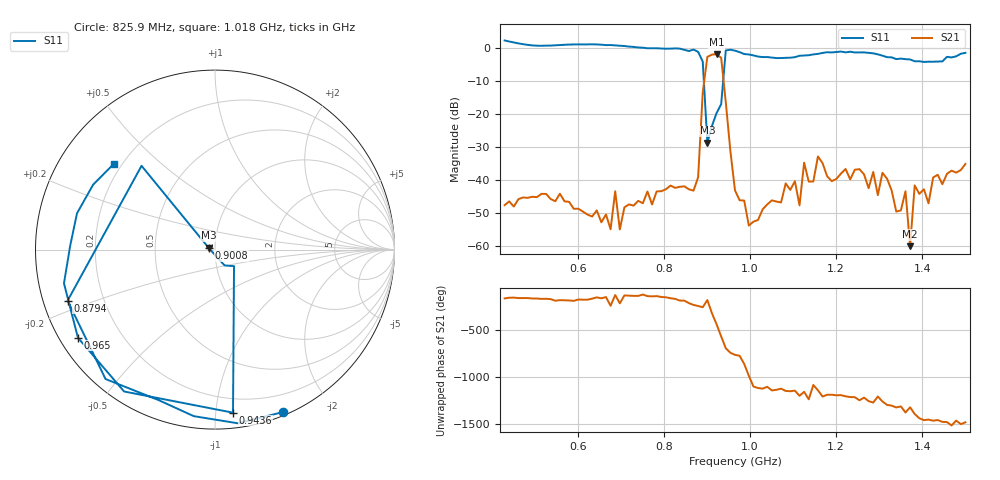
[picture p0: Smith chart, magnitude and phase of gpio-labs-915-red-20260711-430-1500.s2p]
# HZ S RI R 50
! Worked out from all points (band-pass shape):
!   101 points, 430 MHz to 1.5 GHz, reference 50 ohm
!   highest |S21| = -1.89 dB at 922.2 MHz (marker M1); lowest = -60.0 dB at 1.372 GHz (marker M2)
!   |S21| within 3 dB of the highest: 898.7 MHz to 934.4 MHz (35.75 MHz wide, 3.9 % of centre)
!   lowest |S11| = -28.7 dB at 900.8 MHz (marker M3), VSWR 1.08, Z = 46.6 + j0.92 ohm
!   |S11| at or under -10 dB: 892.7 MHz to 937.5 MHz (44.88 MHz wide, 4.9 % of centre)
!   S12 and S22 are empty: the file has one direction only
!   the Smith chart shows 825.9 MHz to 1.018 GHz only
!   S11 on the Smith chart (normalised r, x): 825.9 MHz: 0.03, -1.51; 879.4 MHz: 0.07, -0.17; 900.8 MHz: 0.93, +0.02; 943.6 MHz: 0.10, -1.11; 965 MHz: 0.05, -0.29; 1.018 GHz: 0.17, +0.36
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4.3e8  1.293 -0.0835  -0.00399 -0.00119  0 0  0 0
5.049e8  -0.02 -1.079  -0.00529 -0.00148  0 0  0 0
6.119e8  -1.033 0.4558  -0.00332 -0.000183  0 0  0 0
6.975e8  0.3044 1.035  -0.00145 0.00103  0 0  0 0
7.938e8  0.8541 -0.4772  -0.00574 -0.00356  0 0  0 0
8.259e8  0.3806 -0.9046  -0.00743 -0.0016  0 0  0 0
8.794e8  -0.8213 -0.2845  -0.00492 0.00985  0 0  0 0
8.901e8  -0.4092 0.4668  -0.0483 0.2056  0 0  0 0
9.008e8  -0.0354 0.00986  -0.7307 0.00809  0 0  0 0
9.115e8  0.0272 -0.0601  0.6159 0.4967  0 0  0 0
9.222e8  0.0536 -0.088  0.1722 -0.7859  0 0  0 0
9.329e8  0.106 -0.0924  -0.6335 0.3144  0 0  0 0
9.436e8  0.1003 -0.9086  0.1332 0.0705  0 0  0 0
9.65e8  -0.7637 -0.4908  0.00514 -0.00468  0 0  0 0
1.0185e9  -0.5646 0.477  0.00205 -0.0014  0 0  0 0
1.1469e9  0.7761 0.1802  0.0095 -0.000315  0 0  0 0
1.2325e9  0.2901 -0.8261  -0.00658 -0.00782  0 0  0 0
1.3288e9  -0.6801 -0.233  -0.00517 0.0046  0 0  0 0
1.3609e9  -0.6582 0.1481  0.0028 0.00615  0 0  0 0
1.3716e9  -0.6195 0.2501  -0.000519 0.000849  0 0  0 0
1.3823e9  -0.5274 0.3395  0.00539 0.00629  0 0  0 0
1.5e9  0.5655 0.6235  0.0137 -0.0109  0 0  0 0
